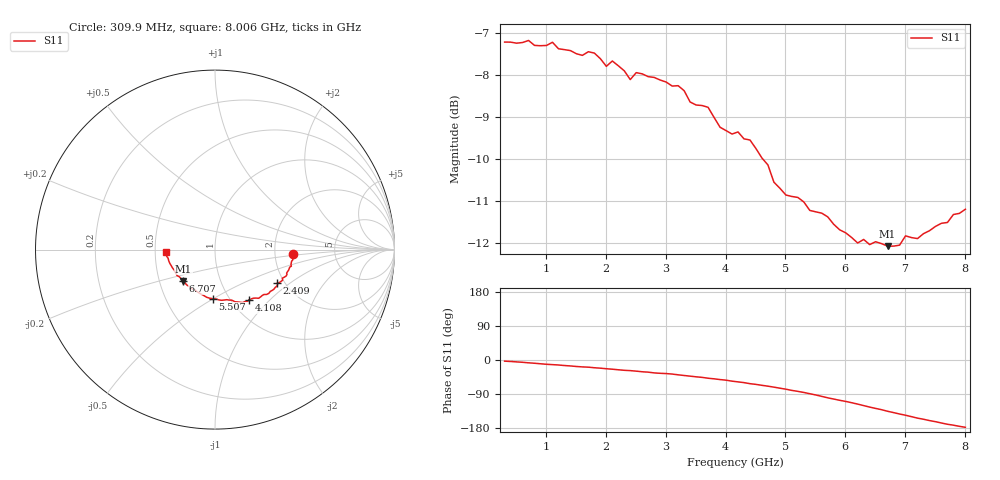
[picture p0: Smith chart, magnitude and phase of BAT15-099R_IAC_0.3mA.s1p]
! Infineon Technologies  Discrete & RF Semiconductors
! BAT15-099R
! IAC = 0.3 mA
! One-Port S-Parameters
# Hz  S  MA  R  50
!f  S11
!Hz  Mag  Ang
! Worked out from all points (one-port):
!   78 points, 309.9 MHz to 8.006 GHz, reference 50 ohm
!   lowest |S11| = -12.1 dB at 6.707 GHz (marker M1), VSWR 1.66, Z = 33.1 - j12.4 ohm
!   |S11| at or under -10 dB: 4.621 GHz to end of sweep
!   S11 on the Smith chart (normalised r, x): 309.9 MHz: 2.53, -0.15; 2.409 GHz: 1.84, -0.80; 4.108 GHz: 1.21, -0.76; 5.507 GHz: 0.84, -0.50; 6.707 GHz: 0.66, -0.25; 8.006 GHz: 0.57, -0.01
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3.0985e8  0.4356 -3.1
1.10945e9  0.4354 -12.3
1.30935e9  0.4267 -14.6
1.8091e9  0.4227 -20.4
2.009e9  0.4076 -23.0
2.10895e9  0.4136 -24.3
2.30885e9  0.4026 -27.2
2.4088e9  0.3931 -28.0
2.50875e9  0.4007 -29.4
3.2084e9  0.3866 -39.1
3.4083e9  0.3697 -42.6
3.70815e9  0.3643 -48.1
3.90805e9  0.345 -51.7
4.10795e9  0.3386 -55.8
4.2079e9  0.3405 -57.7
4.4078e9  0.3331 -62.5
4.70765e9  0.3111 -69.1
4.8076e9  0.2967 -71.6
5.0075e9  0.2865 -77.0
5.2074e9  0.2846 -82.8
5.50725e9  0.2736 -92.3
5.70715e9  0.2698 -99.8
6.10695e9  0.255 -112.7
6.2069e9  0.2512 -116.4
6.70665e9  0.249 -135.3
7.10645e9  0.2549 -149.6
7.6062e9  0.2651 -166.3
8.006e9  0.2755 -177.6
